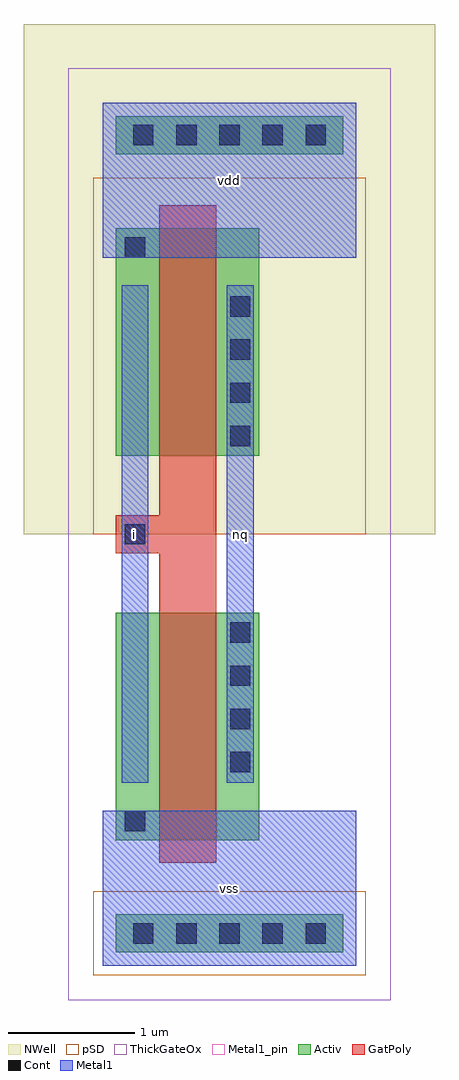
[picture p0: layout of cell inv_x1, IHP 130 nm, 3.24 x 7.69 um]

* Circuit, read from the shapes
.subckt inv_x1 i nq vdd vss
XM1 nq i vss vss sg13_hv_nmos w=1.79u l=0.45u
XM2 nq i vdd vdd sg13_hv_pmos w=1.79u l=0.45u
.ends

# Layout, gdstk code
import gdstk
lib = gdstk.Library(unit=1e-6, precision=1e-09)
def R(c, l, rs):  # rectangles x0, y0, x1, y1
    for r in rs: c.add(gdstk.rectangle(r[:2], r[2:], *l))
def A(c, l, x, y, w, h, nx, ny, dx, dy):  # array of equal rectangles
    R(c, l, [(x+i*dx, y+j*dy, x+i*dx+w, y+j*dy+h) for i in range(nx) for j in range(ny)])
def P(c, l, *ps):  # polygons
    for p in ps: c.add(gdstk.Polygon(p, *l))
Activ = (1, 0)
GatPoly = (5, 0)
Cont = (6, 0)
Metal1 = (8, 0)
Metal1_pin = (8, 2)
pSD = (14, 0)
NWell = (31, 0)
ThickGateOx = (44, 0)

inv_x1 = lib.new_cell('inv_x1')
R(inv_x1, Activ, [(0.105,0.105,1.895,0.405), (0.105,0.99,1.235,2.78), (0.105,4.02,1.235,5.81), (0.105,6.395,1.895,6.695)])
P(inv_x1, GatPoly, [(0.445,0.81),(0.445,3.25),(0.105,3.25),(0.105,3.55),(0.445,3.55),(0.445,5.99),(0.895,5.99),(0.895,0.81)])
A(inv_x1, Cont, 0.24, 0.175, 0.16, 0.16, 5, 2, 0.34, 6.29)
A(inv_x1, Cont, 0.175, 1.06, 0.16, 0.16, 1, 3, 0, 2.26)
A(inv_x1, Cont, 1.005, 1.525, 0.16, 0.16, 1, 4, 0, 0.34)
A(inv_x1, Cont, 1.005, 4.095, 0.16, 0.16, 1, 4, 0, 0.34)
R(inv_x1, Metal1, [(0,0,2,1.22), (0.15,1.44,0.36,5.36), (0.98,1.44,1.19,5.36), (0,5.58,2,6.8)])
R(inv_x1, Metal1_pin, [(0,0,2,1.22), (0.15,1.44,0.36,5.36), (0.98,1.44,1.19,5.36), (0,5.58,2,6.8)])
R(inv_x1, pSD, [(-0.075,-0.075,2.075,0.585), (-0.075,3.4,2.075,6.21)])
R(inv_x1, NWell, [(-0.62,3.4,2.62,7.42)])
R(inv_x1, ThickGateOx, [(-0.27,-0.27,2.27,7.07)])
inv_x1.add(gdstk.Label('vss', (1,0.61), layer=8, texttype=2))
inv_x1.add(gdstk.Label('vdd', (1,6.19), layer=8, texttype=2))
inv_x1.add(gdstk.Label('nq', (1.085,3.4), layer=8, texttype=2))
inv_x1.add(gdstk.Label('i', (0.255,3.4), layer=8, texttype=2))

lib.write_gds('inv_x1.gds')
